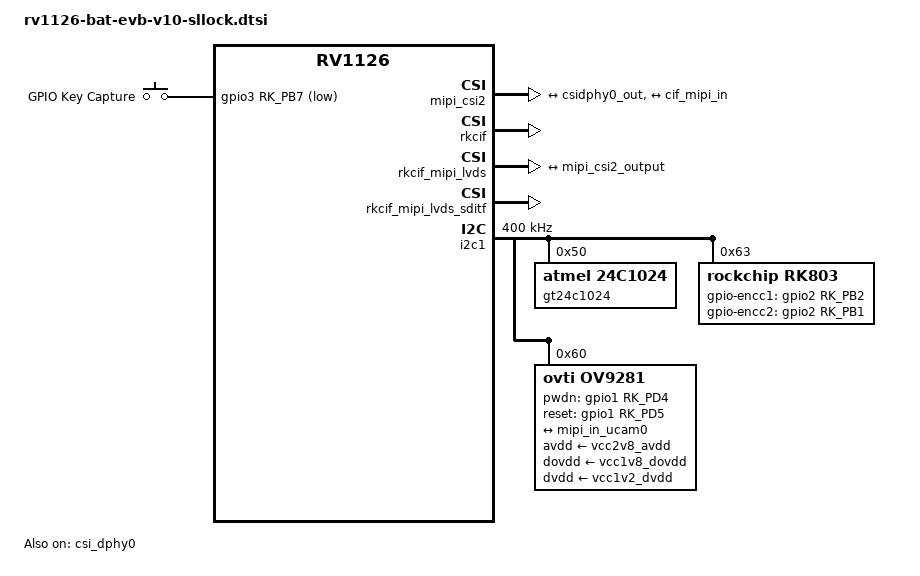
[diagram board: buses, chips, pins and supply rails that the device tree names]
// SPDX-License-Identifier: (GPL-2.0+ OR MIT)
/*
 * Copyright (c) 2021 Rockchip Electronics Co., Ltd.
 */

#include "rv1126-bat-evb-v10.dtsi"

/ {
	leds {
		status = "disabled";
	};

	gpio_keys {
		compatible = "gpio-keys";
		#address-cells = <1>;
		#size-cells = <0>;

		pinctrl-names = "default";
		pinctrl-0 = <&cap_key>;

		capture_key: capture-key {
			label = "GPIO Key Capture";
			gpios = <&gpio3 RK_PB7 GPIO_ACTIVE_LOW>;
			linux,code = <KEY_F22>;
			linux,input-type = <1>;
			wakeup-source;
			debounce-interval = <100>;
		};
	};
};

&csi_dphy0 {
	status = "okay";

	ports {
		#address-cells = <1>;
		#size-cells = <0>;
		port@0 {
			reg = <0>;
			#address-cells = <1>;
			#size-cells = <0>;

			mipi_in_ucam0: endpoint@1 {
				reg = <1>;
				remote-endpoint = <&ucam_out1>;
				data-lanes = <1 2>;
			};
		};
		port@1 {
			reg = <1>;
			#address-cells = <1>;
			#size-cells = <0>;

			csidphy0_out: endpoint@0 {
				reg = <0>;
				remote-endpoint = <&mipi_csi2_input>;
			};
		};
	};
};

&mipi_csi2 {
	status = "okay";
	ports {
		#address-cells = <1>;
		#size-cells = <0>;

		port@0 {
			reg = <0>;
			#address-cells = <1>;
			#size-cells = <0>;

			mipi_csi2_input: endpoint@1 {
				reg = <1>;
				remote-endpoint = <&csidphy0_out>;
				data-lanes = <1 2>;
			};
		};

		port@1 {
                        reg = <1>;
			#address-cells = <1>;
			#size-cells = <0>;

			mipi_csi2_output: endpoint@0 {
				reg = <1>;
				remote-endpoint = <&cif_mipi_in>;
				data-lanes = <1 2>;
			};
		};
	};
};

&rkcif {
        status = "okay";
};

&rkcif_mmu {
        status = "disabled";
};

&rkcif_mipi_lvds {
	status = "okay";

	port {
		/* MIPI CSI-2 endpoint */
		cif_mipi_in: endpoint {
			/* csi2 host port */
			remote-endpoint = <&mipi_csi2_output>;
			data-lanes = <1 2>;
		};
	};
};

&rkcif_mipi_lvds_sditf {
	status = "okay";

	port {
		/* MIPI CSI-2 endpoint */
		mipi_lvds_sditf: endpoint {
			/*remote-endpoint = <&isp_in>;*/
			data-lanes = <1 2>;
		};
	};
};


&i2c1 {
	status = "okay";
	clock-frequency = <400000>;

	os04c10: os04c10@36 {
		status = "disabled";
	};

	gt24c1024:gt24c1024@50{
		compatible = "atmel,24c1024";
		reg = <0x50>;
	};

	rk803:rk803@63{
		compatible = "rockchip,rk803";
		reg = <0x63>;
		pinctrl-names = "default";
		pinctrl-0 = <&strobe_input>;
		gpio-encc1-gpios = <&gpio2 RK_PB2 GPIO_ACTIVE_HIGH>;
		gpio-encc2-gpios = <&gpio2 RK_PB1 GPIO_ACTIVE_HIGH>;
	};

	ov9281: ov9281@60 {
		status = "okay";
		compatible = "ovti,ov9281";
		reg = <0x60>;
		clocks = <&cru CLK_MIPICSI_OUT>;
		clock-names = "xvclk";
		power-domains = <&power RV1126_PD_VI>;
		avdd-supply = <&vcc2v8_avdd>;
		dovdd-supply = <&vcc1v8_dovdd>;
		dvdd-supply = <&vcc1v2_dvdd>;
		pwdn-gpios = <&gpio1 RK_PD4 GPIO_ACTIVE_HIGH>;
		reset-gpios = <&gpio1 RK_PD5 GPIO_ACTIVE_HIGH>;
		rockchip,camera-module-index = <1>;
		rockchip,camera-module-facing = "front";
		rockchip,camera-module-name = "DW-RV04C";
		rockchip,camera-module-lens-name = "2G2P650IR-F21";
		pinctrl-names = "default";
		pinctrl-0 = <&mipicsi_clk0>;

		port {
			ucam_out1: endpoint {
				remote-endpoint = <&mipi_in_ucam0>;
				data-lanes = <1 2>;
			};
		};
	};
};

&pinctrl {
	strobe {
		strobe_input: strobe-input {
			rockchip,pins = <0 RK_PB0 RK_FUNC_GPIO &pcfg_pull_up>;
		};
	};

	capture {
		cap_key: cap-key {
			rockchip,pins = <3 RK_PB7 RK_FUNC_GPIO &pcfg_pull_up>;
		};
	};
};
